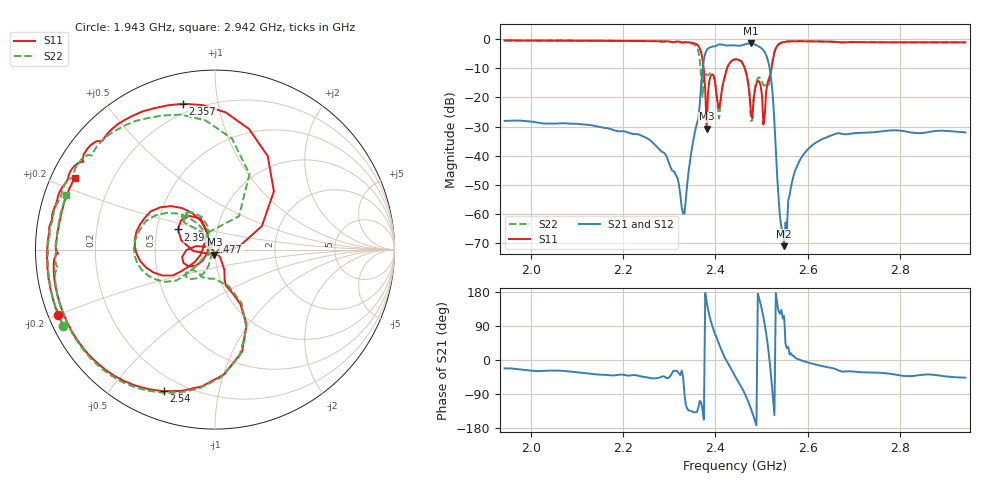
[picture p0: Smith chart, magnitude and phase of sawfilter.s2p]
! Copyright 2010-2015 The MathWorks, Inc.
# MHz S RI R 50
! S-Parameters data
! Freq  reS11  imS11  reS21  imS21  reS12  imS12  reS22  imS22
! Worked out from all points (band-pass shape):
!   334 points, 1.943 GHz to 2.942 GHz, reference 50 ohm
!   highest |S21| = -1.48 dB at 2.477 GHz (marker M1); lowest = -71.0 dB at 2.549 GHz (marker M2)
!   |S21| within 3 dB of the highest: 2.379 GHz to 2.507 GHz (127.6 MHz wide, 5.22 % of centre)
!   lowest |S11| = -30.7 dB at 2.381 GHz (marker M3), VSWR 1.06, Z = 49.6 - j2.88 ohm
!   |S11| at or under -10 dB: 2.374 GHz to 2.425 GHz (50.96 MHz wide, 2.12 % of centre); 2.464 GHz to 2.521 GHz (57.8 MHz wide, 2.32 % of centre)
!   |S22| runs from -28.0 to -0.5 dB; largest |S21 - S12| = 0
!   S11 on the Smith chart (normalised r, x): 1.943 GHz: 0.03, -0.20; 2.357 GHz: 0.15, +0.79; 2.39 GHz: 0.64, +0.15; 2.477 GHz: 0.93, +0.08; 2.54 GHz: 0.13, -0.69; 2.942 GHz: 0.07, +0.24
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1943  -0.8753 -0.3626  0.0368 -0.0149  0.0368 -0.0149  -0.8461 -0.4265
2111  -0.9345 -0.0862  0.0288 -0.0193  0.0288 -0.0193  -0.9237 -0.167
2276  -0.8436 0.3566  0.00919 -0.00994  0.00919 -0.00994  -0.874 0.2664
2333  -0.6034 0.6416  -2.29e-05 -0.00102  -2.29e-05 -0.00102  -0.6605 0.5715
2357  -0.1778 0.8129  -0.0216 -0.0194  -0.0216 -0.0194  -0.188 0.7522
2372  0.3281 0.3248  -0.1937 -0.2174  -0.1937 -0.2174  -0.0553 0.0865
2381  -0.00365 -0.029  -0.5759 0.2854  -0.5759 0.2854  -0.1513 0.1864
2390  -0.2063 0.1125  -0.1666 0.7088  -0.1666 0.7088  -0.1806 0.1949
2408  -0.0636 0.0139  0.6063 0.5359  0.6063 0.5359  -0.0341 -0.0269
2423  -0.2343 -0.1441  0.7746 0.00978  0.7746 0.00978  -0.2171 -0.173
2444  -0.4466 0.06  0.5419 -0.5539  0.5419 -0.5539  -0.4514 0.00345
2468  -0.1276 0.2042  -0.1504 -0.8143  -0.1504 -0.8143  -0.1501 0.1809
2477  -0.0335 0.044  -0.5263 -0.6593  -0.5263 -0.6593  -0.0259 0.03
2495  -0.1831 -0.0408  -0.7025 0.228  -0.7025 0.228  -0.1604 -0.1524
2504  -0.0306 0.0157  -0.2556 0.594  -0.2556 0.594  -0.1153 -0.1161
2519  0.0918 -0.2352  0.2556 -0.0951  0.2556 -0.0951  0.0751 -0.2018
2540  -0.2869 -0.7892  -0.000483 0.000765  -0.000483 0.000765  -0.2909 -0.7972
2549  -0.509 -0.7315  -0.000123 0.000253  -0.000123 0.000253  -0.4982 -0.7466
2570  -0.7518 -0.526  0.00461 0.000862  0.00461 0.000862  -0.729 -0.5644
2609  -0.8754 -0.2639  0.0147 -0.00243  0.0147 -0.00243  -0.857 -0.3278
2777  -0.8616 0.176  0.0219 -0.0159  0.0219 -0.0159  -0.8789 0.0854
2942  -0.7823 0.3989  0.0172 -0.0182  0.0172 -0.0182  -0.8275 0.3043
